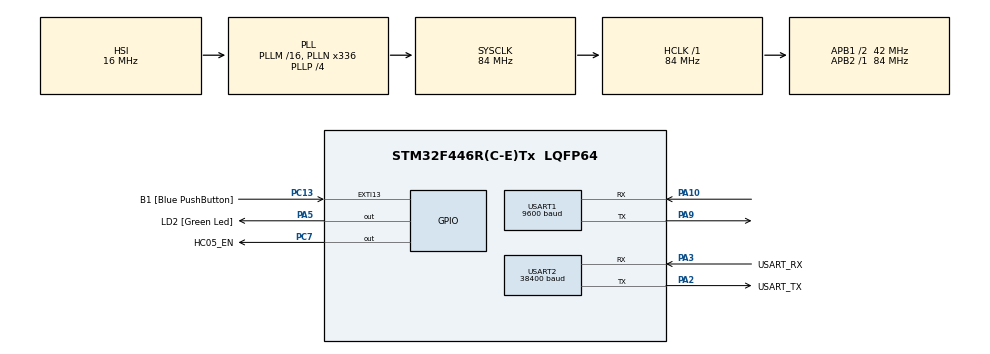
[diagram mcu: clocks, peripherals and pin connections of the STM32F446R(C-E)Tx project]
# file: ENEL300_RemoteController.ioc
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Mcu.Family=STM32F4
Mcu.Name=STM32F446R(C-E)Tx
Mcu.Package=LQFP64
NVIC.PriorityGroup=NVIC_PRIORITYGROUP_0
PA10.Mode=Asynchronous
PA10.Signal=USART1_RX
PA13.GPIO_Label=TMS
PA13.Mode=Serial_Wire
PA13.Signal=SYS_JTMS-SWDIO
PA14.GPIO_Label=TCK
PA14.Mode=Serial_Wire
PA14.Signal=SYS_JTCK-SWCLK
PA2.GPIO_Label=USART_TX
PA2.Mode=Asynchronous
PA2.Signal=USART2_TX
PA3.GPIO_Label=USART_RX
PA3.Mode=Asynchronous
PA3.Signal=USART2_RX
PA5.GPIO_Label=LD2 [Green Led]
PA5.Signal=GPIO_Output
PA9.Mode=Asynchronous
PA9.Signal=USART1_TX
PB3.GPIO_Label=SWO
PB3.Signal=SYS_JTDO-SWO
PC13.GPIO_Label=B1 [Blue PushButton]
PC13.GPIO_ModeDefaultEXTI=GPIO_MODE_IT_FALLING
PC13.Signal=GPXTI13
PC14-OSC32_IN.Mode=LSE-External-Oscillator
PC14-OSC32_IN.Signal=RCC_OSC32_IN
PC15-OSC32_OUT.Mode=LSE-External-Oscillator
PC15-OSC32_OUT.Signal=RCC_OSC32_OUT
PC7.GPIO_Label=HC05_EN
PC7.Signal=GPIO_Output
PH0-OSC_IN.Mode=HSE-External-Oscillator
PH0-OSC_IN.Signal=RCC_OSC_IN
PH1-OSC_OUT.Mode=HSE-External-Oscillator
PH1-OSC_OUT.Signal=RCC_OSC_OUT
ProjectManager.HeapSize=0x200
ProjectManager.StackSize=0x400
ProjectManager.TargetToolchain=STM32CubeIDE
RCC.48MHZClocksFreq_Value=84000000
RCC.AHBFreq_Value=84000000
RCC.APB1CLKDivider=RCC_HCLK_DIV2
RCC.APB1Freq_Value=42000000
RCC.APB1TimFreq_Value=84000000
RCC.APB2Freq_Value=84000000
RCC.APB2TimFreq_Value=84000000
RCC.CortexFreq_Value=84000000
RCC.FLatency-AdvancedSettings=FLASH_LATENCY_2
RCC.HCLKFreq_Value=84000000
RCC.HSE_VALUE=8000000
RCC.HSI_VALUE=16000000
RCC.PLLN=336
RCC.PLLP=RCC_PLLP_DIV4
RCC.SYSCLKFreq_VALUE=84000000
RCC.SYSCLKSource=RCC_SYSCLKSOURCE_PLLCLK
RCC.USBFreq_Value=168000000
RCC.VCOOutputFreq_Value=336000000
USART1.BaudRate=9600
USART1.VirtualMode=VM_ASYNC
USART2.BaudRate=38400
USART2.VirtualMode=VM_ASYNC
board=NUCLEO-F446RE

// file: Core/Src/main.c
/* USER CODE BEGIN Header */
/**
  ******************************************************************************
  * @file           : main.c
  * @brief          : Main program body
  ******************************************************************************
  * @attention
  *
  * Copyright (c) 2026 STMicroelectronics.
  * All rights reserved.
  *
  * This software is licensed under terms that can be found in the LICENSE file
  * in the root directory of this software component.
  * If no LICENSE file comes with this software, it is provided AS-IS.
  *
  ******************************************************************************
  */
/* USER CODE END Header */
#include "main.h"

/* USER CODE BEGIN Includes */
#include <string.h>
#include <stdio.h>
/* USER CODE END Includes */

/* USER CODE BEGIN PTD */
#define CONFIGURE_HC05 0  // 1 = AT mode, 0 = Data mode

/* USER CODE END PTD */

UART_HandleTypeDef huart1;
UART_HandleTypeDef huart2;

void SystemClock_Config(void);
static void MX_GPIO_Init(void);
static void MX_USART2_UART_Init(void);
static void MX_USART1_UART_Init(void);

/* USER CODE BEGIN 0 */

void configureHC05(){
	char resp[50] = {0};
	printf("\r\n--- Testing HC-05 Connection ---\r\n");

	    // 1. Send AT
	    HAL_UART_Transmit(&huart1, (uint8_t*)"AT\r\n", 4, 1000);

	    // 2. Receive exactly 4 bytes (OK\r\n)
	    HAL_StatusTypeDef status = HAL_UART_Receive(&huart1, (uint8_t*)resp, 4, 1000);

	    if (status == HAL_OK) {
	        printf("HC-05 says: %s\r\n", resp);
	        HAL_GPIO_WritePin(GPIOA, GPIO_PIN_5, GPIO_PIN_SET); // LED ON
	    } else if (status == HAL_TIMEOUT) {
	        printf("ERROR: Timeout - No response from module\r\n");
	    } else {
	        printf("ERROR: UART Error Code %d\r\n", status);
	    }

	// set controller as "master"
	char cmd1[] = "AT+ROLE=1\r\n";
	HAL_UART_Transmit(&huart1, (uint8_t*)cmd1, strlen(cmd1), HAL_MAX_DELAY);
	HAL_UART_Receive(&huart1, (uint8_t*)resp, 4, 200);
	printf("Role Response: %s\r\n", resp); // Print the "OK"
	HAL_Delay(500);
	memset(resp, 0, sizeof(resp));

	char cmd_pw[] = "AT+PSWD=\"1234\"\r\n";
	HAL_UART_Transmit(&huart1, (uint8_t*)cmd_pw, strlen(cmd_pw), HAL_MAX_DELAY);
	HAL_UART_Receive(&huart1, (uint8_t*)resp, sizeof(resp), 200);
	printf("Password Response: %s\r\n", resp);
	HAL_Delay(500);
	memset(resp, 0, sizeof(resp));

#if 0
	char cmd2[] = "AT+BIND=2025,08,004A3B\r\n";
	HAL_UART_Transmit(&huart1, (uint8_t*)cmd2, strlen(cmd2), HAL_MAX_DELAY);
	HAL_UART_Receive(&huart1, (uint8_t*)resp, sizeof(resp), 200);
	HAL_Delay(500);
#endif
	char cmd3[] = "AT+CMODE=1\r\n";
	HAL_UART_Transmit(&huart1, (uint8_t*)cmd3, strlen(cmd3), HAL_MAX_DELAY);
	HAL_UART_Receive(&huart1, (uint8_t*)resp, sizeof(resp), 200);
	printf("CMode Response: %s\r\n", resp); // Print the "OK"

	HAL_Delay(500);

	memset(resp, 0, sizeof(resp));

	// set data mode baud rate = 9600
	char cmd4[] = "AT+UART=9600,0,0\r\n";
	HAL_UART_Transmit(&huart1, (uint8_t*)cmd4, strlen(cmd4), HAL_MAX_DELAY);
	HAL_UART_Receive(&huart1, (uint8_t*)resp, sizeof(resp), 200);
	HAL_Delay(500);

}
/* USER CODE END 0 */

int main(void)
{

  /* MCU Configuration--------------------------------------------------------*/

  /* Reset of all peripherals, Initializes the Flash interface and the Systick. */
  HAL_Init();

  /* Configure the system clock */
  SystemClock_Config();

  /* Initialize all configured peripherals */
  MX_GPIO_Init();
  MX_USART2_UART_Init();
  MX_USART1_UART_Init();

  /* Infinite loop */
  /* USER CODE BEGIN WHILE */
  while (1)
  {

	# if CONFIGURE_HC05
	  HAL_GPIO_WritePin(HC05_EN_GPIO_Port, HC05_EN_Pin, GPIO_PIN_SET);  // set EN HIGH
	  configureHC05();

		// important: after running this ONCE, change CONFIGURE_HC05 to 0 and also the baud rate to 9600.
	  while (1){} // stop execution so normal controller code doesn't run
	#endif

	  uint8_t msg[] = "Hello Car!\r\n";
	  HAL_UART_Transmit(&huart1, msg, strlen((char*)msg), 10);
	  HAL_Delay(1000);

    /* USER CODE END WHILE */

  }
}

void SystemClock_Config(void)
{
  RCC_OscInitTypeDef RCC_OscInitStruct = {0};
  RCC_ClkInitTypeDef RCC_ClkInitStruct = {0};

  /** Configure the main internal regulator output voltage
  */
  __HAL_RCC_PWR_CLK_ENABLE();
  __HAL_PWR_VOLTAGESCALING_CONFIG(PWR_REGULATOR_VOLTAGE_SCALE3);

  /** Initializes the RCC Oscillators according to the specified parameters
  * in the RCC_OscInitTypeDef structure.
  */
  RCC_OscInitStruct.OscillatorType = RCC_OSCILLATORTYPE_HSI;
  RCC_OscInitStruct.HSIState = RCC_HSI_ON;
  RCC_OscInitStruct.HSICalibrationValue = RCC_HSICALIBRATION_DEFAULT;
  RCC_OscInitStruct.PLL.PLLState = RCC_PLL_ON;
  RCC_OscInitStruct.PLL.PLLSource = RCC_PLLSOURCE_HSI;
  RCC_OscInitStruct.PLL.PLLM = 16;
  RCC_OscInitStruct.PLL.PLLN = 336;
  RCC_OscInitStruct.PLL.PLLP = RCC_PLLP_DIV4;
  RCC_OscInitStruct.PLL.PLLQ = 2;
  RCC_OscInitStruct.PLL.PLLR = 2;
  if (HAL_RCC_OscConfig(&RCC_OscInitStruct) != HAL_OK)
  {
    Error_Handler();
  }

  /** Initializes the CPU, AHB and APB buses clocks
  */
  RCC_ClkInitStruct.ClockType = RCC_CLOCKTYPE_HCLK|RCC_CLOCKTYPE_SYSCLK
                              |RCC_CLOCKTYPE_PCLK1|RCC_CLOCKTYPE_PCLK2;
  RCC_ClkInitStruct.SYSCLKSource = RCC_SYSCLKSOURCE_PLLCLK;
  RCC_ClkInitStruct.AHBCLKDivider = RCC_SYSCLK_DIV1;
  RCC_ClkInitStruct.APB1CLKDivider = RCC_HCLK_DIV2;
  RCC_ClkInitStruct.APB2CLKDivider = RCC_HCLK_DIV1;

  if (HAL_RCC_ClockConfig(&RCC_ClkInitStruct, FLASH_LATENCY_2) != HAL_OK)
  {
    Error_Handler();
  }
}

static void MX_USART1_UART_Init(void)
{

  huart1.Instance = USART1;
  huart1.Init.BaudRate = 9600;
  huart1.Init.WordLength = UART_WORDLENGTH_8B;
  huart1.Init.StopBits = UART_STOPBITS_1;
  huart1.Init.Parity = UART_PARITY_NONE;
  huart1.Init.Mode = UART_MODE_TX_RX;
  huart1.Init.HwFlowCtl = UART_HWCONTROL_NONE;
  huart1.Init.OverSampling = UART_OVERSAMPLING_16;
  if (HAL_UART_Init(&huart1) != HAL_OK)
  {
    Error_Handler();
  }

}

static void MX_USART2_UART_Init(void)
{

  huart2.Instance = USART2;
  huart2.Init.BaudRate = 38400;
  huart2.Init.WordLength = UART_WORDLENGTH_8B;
  huart2.Init.StopBits = UART_STOPBITS_1;
  huart2.Init.Parity = UART_PARITY_NONE;
  huart2.Init.Mode = UART_MODE_TX_RX;
  huart2.Init.HwFlowCtl = UART_HWCONTROL_NONE;
  huart2.Init.OverSampling = UART_OVERSAMPLING_16;
  if (HAL_UART_Init(&huart2) != HAL_OK)
  {
    Error_Handler();
  }

}

static void MX_GPIO_Init(void)
{
  GPIO_InitTypeDef GPIO_InitStruct = {0};

  /* GPIO Ports Clock Enable */
  __HAL_RCC_GPIOC_CLK_ENABLE();
  __HAL_RCC_GPIOH_CLK_ENABLE();
  __HAL_RCC_GPIOA_CLK_ENABLE();
  __HAL_RCC_GPIOB_CLK_ENABLE();

  /*Configure GPIO pin Output Level */
  HAL_GPIO_WritePin(LD2_GPIO_Port, LD2_Pin, GPIO_PIN_RESET);

  /*Configure GPIO pin Output Level */
  HAL_GPIO_WritePin(HC05_EN_GPIO_Port, HC05_EN_Pin, GPIO_PIN_RESET);

  /*Configure GPIO pin : B1_Pin */
  GPIO_InitStruct.Pin = B1_Pin;
  GPIO_InitStruct.Mode = GPIO_MODE_IT_FALLING;
  GPIO_InitStruct.Pull = GPIO_NOPULL;
  HAL_GPIO_Init(B1_GPIO_Port, &GPIO_InitStruct);

  /*Configure GPIO pin : LD2_Pin */
  GPIO_InitStruct.Pin = LD2_Pin;
  GPIO_InitStruct.Mode = GPIO_MODE_OUTPUT_PP;
  GPIO_InitStruct.Pull = GPIO_NOPULL;
  GPIO_InitStruct.Speed = GPIO_SPEED_FREQ_LOW;
  HAL_GPIO_Init(LD2_GPIO_Port, &GPIO_InitStruct);

  /*Configure GPIO pin : HC05_EN_Pin */
  GPIO_InitStruct.Pin = HC05_EN_Pin;
  GPIO_InitStruct.Mode = GPIO_MODE_OUTPUT_PP;
  GPIO_InitStruct.Pull = GPIO_NOPULL;
  GPIO_InitStruct.Speed = GPIO_SPEED_FREQ_LOW;
  HAL_GPIO_Init(HC05_EN_GPIO_Port, &GPIO_InitStruct);

}

/* USER CODE BEGIN 4 */
int __io_putchar(int ch)
{
  HAL_UART_Transmit(&huart2, (uint8_t *)&ch, 1, HAL_MAX_DELAY);
  return ch;
}
/* USER CODE END 4 */

void Error_Handler(void)
{
  __disable_irq();
  while (1)
  {
  }
}
